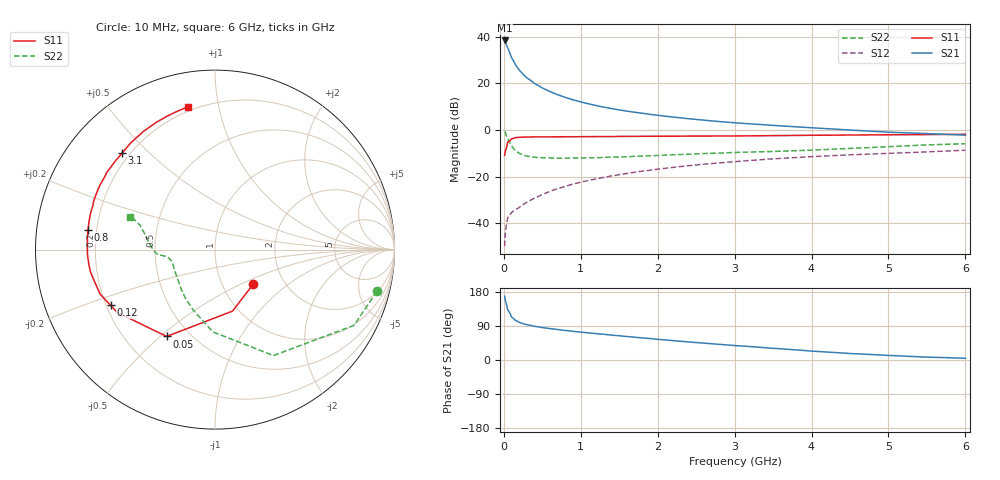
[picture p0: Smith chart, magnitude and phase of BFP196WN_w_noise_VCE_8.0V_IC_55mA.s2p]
! (c) 2017  Infineon Technologies AG, Munich
! Infineon Technologies  Discrete & RF Semiconductors
! BFP196WN
! VCE =  8.0 V,  IC =  55 mA
! Common Emitter S-Parameters:  Jan 2017
# GHz  S  MA  R  50
!  f  S11  S21  S12  S22
! GHz  MAG  ANG  MAG  ANG  MAG  ANG  MAG  ANG
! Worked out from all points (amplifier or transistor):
!   77 points, 10 MHz to 6 GHz, reference 50 ohm
!   highest |S21| = 38.5 dB at 10 MHz (marker M1)
!   |S21| within 3 dB of that: start of sweep to 47.69 MHz
!   unconditionally stable (mu >= 1): 646.1 MHz to 2.697 GHz
!   at 130 MHz: K = 0.55, MSG = 32.1 dB, |S12| = -34.7 dB
!   at 2.2 GHz: K = 1.02, MAG = 9.9 dB, |S12| = -16.1 dB
!   at 6 GHz: K = 0.90, MSG = 3.2 dB, |S12| = -8.7 dB
!   lowest NFmin = 1.34 dB at 450 MHz
!   S11 on the Smith chart (normalised r, x): 10 MHz: 1.40, -0.59; 50 MHz: 0.38, -0.52; 120 MHz: 0.22, -0.24; 800 MHz: 0.17, +0.07; 3.1 GHz: 0.17, +0.41; 6 GHz: 0.18, +0.81
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0.01  0.2873 -42.2  83.76 168.2  0.0032 74.8  0.9319 -14.4
0.02  0.3563 -74.1  76.94 156.4  0.0064 73.9  0.8822 -28.6
0.05  0.5536 -119.1  58.21 132.2  0.013 53.5  0.6744 -61.1
0.1  0.6468 -147.1  35.89 113.5  0.0169 49.3  0.4591 -91.4
0.12  0.6592 -151.9  31.62 110.7  0.0179 49.4  0.4149 -97.5
0.15  0.6861 -158.7  25.41 104.7  0.0194 49.6  0.3601 -109.3
0.2  0.695 -165.5  19.42 99.5  0.0216 52.9  0.3162 -121.7
0.25  0.7041 -169.6  15.7 95.8  0.0251 56.2  0.2914 -129.9
0.3  0.7076 -173.0  13.17 93.1  0.0281 57.7  0.2735 -136.9
0.4  0.711 -177.6  9.963 88.8  0.0343 62.3  0.2596 -145.5
0.5  0.7114 178.9  7.991 85.7  0.041 64.3  0.2537 -151.8
0.6  0.7126 175.9  6.675 82.9  0.0484 66.2  0.251 -156.2
0.7  0.7146 173.6  5.72 80.4  0.0548 68.0  0.2478 -159.3
0.8  0.7169 171.2  5.009 77.9  0.0618 68.4  0.2482 -161.2
0.9  0.7174 169.0  4.447 75.7  0.069 67.8  0.2499 -163.2
1.1  0.7206 165.3  3.651 71.6  0.0827 68.5  0.2524 -166.4
1.5  0.7275 158.4  2.699 63.9  0.1097 67.3  0.2634 -170.2
2.1  0.7349 148.8  1.98 52.9  0.1508 63.6  0.2891 -173.1
3.1  0.7463 133.9  1.393 36.9  0.2151 55.9  0.3328 -177.4
4.1  0.7718 119.6  1.092 22.3  0.2727 47.6  0.3758 172.8
5.1  0.7911 108.9  0.885 11.2  0.3198 40.1  0.4459 161.6
6  0.8092 100.9  0.775 4.6  0.3679 34.1  0.5078 158.8
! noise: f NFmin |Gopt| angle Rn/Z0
0.45  1.34  0.54  -177  0.05
0.9  1.44  0.57  -170  0.06
1.9  2.36  0.69  -147  0.17
2.4  3.11  0.7  -140  0.29
